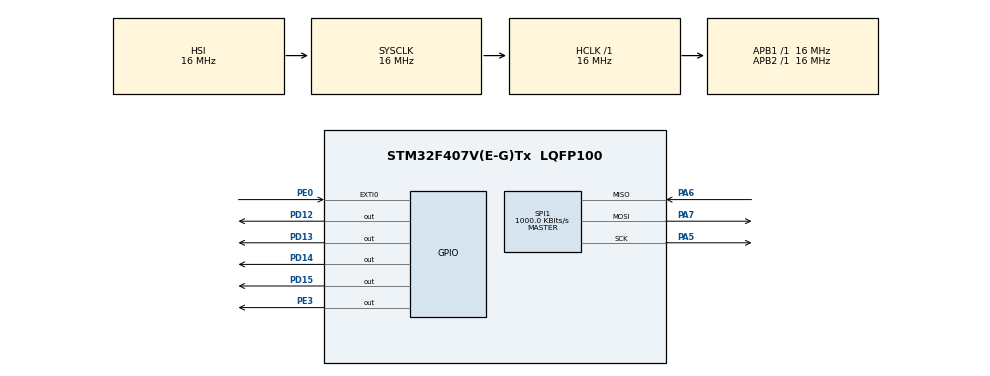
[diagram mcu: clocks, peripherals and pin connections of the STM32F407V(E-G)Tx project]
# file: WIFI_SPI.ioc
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Mcu.Family=STM32F4
Mcu.Name=STM32F407V(E-G)Tx
Mcu.Package=LQFP100
NVIC.EXTI0_IRQn=true\:0\:0\:false\:false\:true\:true\:true
NVIC.PriorityGroup=NVIC_PRIORITYGROUP_4
PA5.Mode=Full_Duplex_Master
PA5.Signal=SPI1_SCK
PA6.Mode=Full_Duplex_Master
PA6.Signal=SPI1_MISO
PA7.Mode=Full_Duplex_Master
PA7.Signal=SPI1_MOSI
PD12.Signal=GPIO_Output
PD13.Signal=GPIO_Output
PD14.Signal=GPIO_Output
PD15.Signal=GPIO_Output
PE0.Signal=GPXTI0
PE3.PinState=GPIO_PIN_SET
PE3.Signal=GPIO_Output
PH0-OSC_IN.Mode=HSE-External-Oscillator
PH0-OSC_IN.Signal=RCC_OSC_IN
PH1-OSC_OUT.Mode=HSE-External-Oscillator
PH1-OSC_OUT.Signal=RCC_OSC_OUT
ProjectManager.HeapSize=0x200
ProjectManager.StackSize=0x400
ProjectManager.TargetToolchain=MDK-ARM V5.27
RCC.AHBFreq_Value=16000000
RCC.APB1Freq_Value=16000000
RCC.APB2Freq_Value=16000000
RCC.CortexFreq_Value=16000000
RCC.HSE_VALUE=25000000
RCC.HSI_VALUE=16000000
RCC.LSE_VALUE=32768
RCC.SYSCLKFreq_VALUE=16000000
RCC.VCOOutputFreq_Value=192000000
SPI1.BaudRatePrescaler=SPI_BAUDRATEPRESCALER_16
SPI1.CalculateBaudRate=1000.0 KBits/s
SPI1.Direction=SPI_DIRECTION_2LINES
SPI1.Mode=SPI_MODE_MASTER
SPI1.VirtualType=VM_MASTER
board=custom

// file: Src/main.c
/* USER CODE BEGIN Header */
/**
  ******************************************************************************
  * @file           : main.c
  * @brief          : Main program body
  ******************************************************************************
  * @attention
  *
  * <h2><center>&copy; Copyright (c) 2020 STMicroelectronics.
  * All rights reserved.</center></h2>
  *
  * This software component is licensed by ST under BSD 3-Clause license,
  * the "License"; You may not use this file except in compliance with the
  * License. You may obtain a copy of the License at:
  *                        opensource.org/licenses/BSD-3-Clause
  *
  ******************************************************************************
  */
/* USER CODE END Header */

#include "main.h"

/* USER CODE BEGIN Includes */
#include "ESP8266_HAL.h"
/* USER CODE END Includes */

SPI_HandleTypeDef hspi1;

void SystemClock_Config(void);
static void MX_GPIO_Init(void);
static void MX_SPI1_Init(void);

/* USER CODE BEGIN 0 */
uint8_t spiTxBuf[25] ="world wide diesae by me.";
uint8_t spiRxBuf[30];
/* USER CODE END 0 */

int main(void)
{

  /* MCU Configuration--------------------------------------------------------*/

  /* Reset of all peripherals, Initializes the Flash interface and the Systick. */
  HAL_Init();

  /* Configure the system clock */
  SystemClock_Config();

  /* Initialize all configured peripherals */
  MX_GPIO_Init();
  MX_SPI1_Init();
  /* USER CODE BEGIN 2 */
	//-----------SPI Transmit--------------------------
	//1. Bring slave select low
	HAL_GPIO_WritePin(GPIOE, GPIO_PIN_3, GPIO_PIN_RESET);
	//2. Transmis register + data
//	spiTxBuf[0] = "Some WAAL";
//	spiTxBuf[1] = 0x21;
	HAL_SPI_Transmit(&hspi1, spiTxBuf, 2, 50);

	//3. Bring slave select high
	HAL_GPIO_WritePin(GPIOE, GPIO_PIN_3, GPIO_PIN_SET);

	//-----------SPI Receive--------------------------
	//1. Bring slave select low
	HAL_GPIO_WritePin(GPIOE, GPIO_PIN_3, GPIO_PIN_RESET);
	//2. Transmis register + 0x80 (to set MSB bit to high read mode)
	spiTxBuf[0]= 0x20|0x80;
	HAL_SPI_Transmit(&hspi1, spiTxBuf, 1, 50);
	//3. Receive Data
	HAL_SPI_Receive(&hspi1, spiRxBuf, 1, 50);
	//4. Bring slave select high
	HAL_GPIO_WritePin(GPIOE, GPIO_PIN_3, GPIO_PIN_SET);

	//--------Transmit again-------------
	//1. Bring slave select low
	HAL_GPIO_WritePin(GPIOE, GPIO_PIN_3, GPIO_PIN_RESET);
	//2. Transmis register + data
	spiTxBuf[0] = 0x23;
	spiTxBuf[1] = 0xC8;
	HAL_SPI_Transmit(&hspi1, spiTxBuf, 2, 50);
  /* USER CODE END 2 */

  /* Infinite loop */
  while (1)
  {

  }
}

void SystemClock_Config(void)
{
  RCC_OscInitTypeDef RCC_OscInitStruct = {0};
  RCC_ClkInitTypeDef RCC_ClkInitStruct = {0};

  /** Configure the main internal regulator output voltage
  */
  __HAL_RCC_PWR_CLK_ENABLE();
  __HAL_PWR_VOLTAGESCALING_CONFIG(PWR_REGULATOR_VOLTAGE_SCALE1);
  /** Initializes the CPU, AHB and APB busses clocks
  */
  RCC_OscInitStruct.OscillatorType = RCC_OSCILLATORTYPE_HSI;
  RCC_OscInitStruct.HSIState = RCC_HSI_ON;
  RCC_OscInitStruct.HSICalibrationValue = RCC_HSICALIBRATION_DEFAULT;
  RCC_OscInitStruct.PLL.PLLState = RCC_PLL_NONE;
  if (HAL_RCC_OscConfig(&RCC_OscInitStruct) != HAL_OK)
  {
    Error_Handler();
  }
  /** Initializes the CPU, AHB and APB busses clocks
  */
  RCC_ClkInitStruct.ClockType = RCC_CLOCKTYPE_HCLK|RCC_CLOCKTYPE_SYSCLK
                              |RCC_CLOCKTYPE_PCLK1|RCC_CLOCKTYPE_PCLK2;
  RCC_ClkInitStruct.SYSCLKSource = RCC_SYSCLKSOURCE_HSI;
  RCC_ClkInitStruct.AHBCLKDivider = RCC_SYSCLK_DIV1;
  RCC_ClkInitStruct.APB1CLKDivider = RCC_HCLK_DIV1;
  RCC_ClkInitStruct.APB2CLKDivider = RCC_HCLK_DIV1;

  if (HAL_RCC_ClockConfig(&RCC_ClkInitStruct, FLASH_LATENCY_0) != HAL_OK)
  {
    Error_Handler();
  }
}

static void MX_SPI1_Init(void)
{

  /* SPI1 parameter configuration*/
  hspi1.Instance = SPI1;
  hspi1.Init.Mode = SPI_MODE_MASTER;
  hspi1.Init.Direction = SPI_DIRECTION_2LINES;
  hspi1.Init.DataSize = SPI_DATASIZE_8BIT;
  hspi1.Init.CLKPolarity = SPI_POLARITY_LOW;
  hspi1.Init.CLKPhase = SPI_PHASE_1EDGE;
  hspi1.Init.NSS = SPI_NSS_SOFT;
  hspi1.Init.BaudRatePrescaler = SPI_BAUDRATEPRESCALER_16;
  hspi1.Init.FirstBit = SPI_FIRSTBIT_MSB;
  hspi1.Init.TIMode = SPI_TIMODE_DISABLE;
  hspi1.Init.CRCCalculation = SPI_CRCCALCULATION_DISABLE;
  hspi1.Init.CRCPolynomial = 10;
  if (HAL_SPI_Init(&hspi1) != HAL_OK)
  {
    Error_Handler();
  }

}

static void MX_GPIO_Init(void)
{
  GPIO_InitTypeDef GPIO_InitStruct = {0};

  /* GPIO Ports Clock Enable */
  __HAL_RCC_GPIOE_CLK_ENABLE();
  __HAL_RCC_GPIOH_CLK_ENABLE();
  __HAL_RCC_GPIOA_CLK_ENABLE();
  __HAL_RCC_GPIOD_CLK_ENABLE();

  /*Configure GPIO pin Output Level */
  HAL_GPIO_WritePin(GPIOE, GPIO_PIN_3, GPIO_PIN_SET);

  /*Configure GPIO pin Output Level */
  HAL_GPIO_WritePin(GPIOD, GPIO_PIN_12|GPIO_PIN_13|GPIO_PIN_14|GPIO_PIN_15, GPIO_PIN_RESET);

  /*Configure GPIO pin : PE3 */
  GPIO_InitStruct.Pin = GPIO_PIN_3;
  GPIO_InitStruct.Mode = GPIO_MODE_OUTPUT_PP;
  GPIO_InitStruct.Pull = GPIO_NOPULL;
  GPIO_InitStruct.Speed = GPIO_SPEED_FREQ_LOW;
  HAL_GPIO_Init(GPIOE, &GPIO_InitStruct);

  /*Configure GPIO pins : PD12 PD13 PD14 PD15 */
  GPIO_InitStruct.Pin = GPIO_PIN_12|GPIO_PIN_13|GPIO_PIN_14|GPIO_PIN_15;
  GPIO_InitStruct.Mode = GPIO_MODE_OUTPUT_PP;
  GPIO_InitStruct.Pull = GPIO_NOPULL;
  GPIO_InitStruct.Speed = GPIO_SPEED_FREQ_LOW;
  HAL_GPIO_Init(GPIOD, &GPIO_InitStruct);

  /*Configure GPIO pin : PE0 */
  GPIO_InitStruct.Pin = GPIO_PIN_0;
  GPIO_InitStruct.Mode = GPIO_MODE_IT_RISING;
  GPIO_InitStruct.Pull = GPIO_NOPULL;
  HAL_GPIO_Init(GPIOE, &GPIO_InitStruct);

  /* EXTI interrupt init*/
  HAL_NVIC_SetPriority(EXTI0_IRQn, 0, 0);
  HAL_NVIC_EnableIRQ(EXTI0_IRQn);

}

/* USER CODE BEGIN 4 */
void HAL_GPIO_EXTI_Callback(uint16_t GPIO_Pin)
{
  /* Prevent unused argument(s) compilation warning */
  UNUSED(GPIO_Pin);
  /* NOTE: This function Should not be modified, when the callback is needed,
           the HAL_GPIO_EXTI_Callback could be implemented in the user file
   */
		//1. Bring slave select low
	HAL_GPIO_WritePin(GPIOE, GPIO_PIN_3, GPIO_PIN_RESET);
	//2. Transmis register + 0x80 (to set MSB bit to high read mode)
	spiTxBuf[0]= 0x29|0x80;
	HAL_SPI_Transmit(&hspi1, spiTxBuf, 1, 50);
	//3. Receive Data
	HAL_SPI_Receive(&hspi1, spiRxBuf, 1, 50);
	//4. Bring slave select high
	HAL_GPIO_WritePin(GPIOE, GPIO_PIN_3, GPIO_PIN_SET);

	HAL_GPIO_TogglePin(GPIOD, GPIO_PIN_12);
}
/* USER CODE END 4 */

void Error_Handler(void)
{
}

/************************ (C) COPYRIGHT STMicroelectronics *****END OF FILE****/
